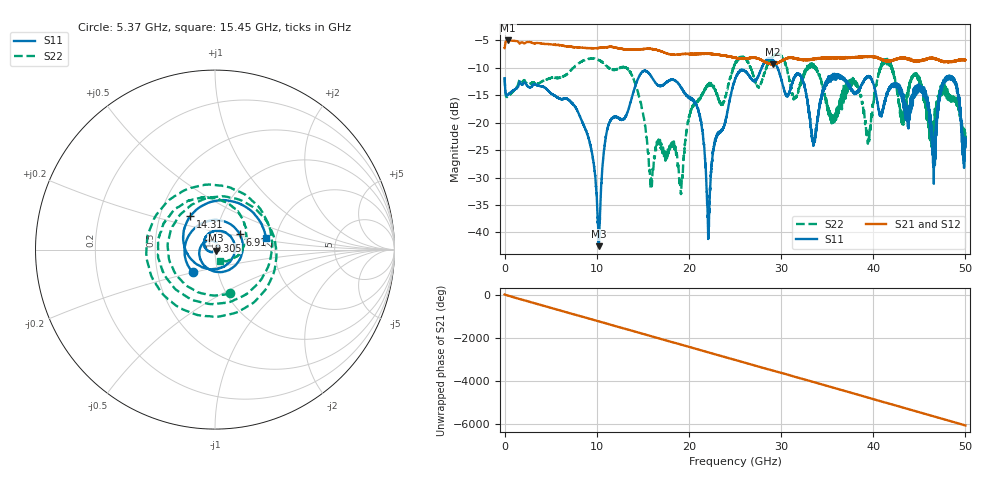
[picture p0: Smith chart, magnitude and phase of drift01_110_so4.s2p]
!Created with skrf (http://scikit-rf.org).
# Hz S RI R 50.0
!freq ReS11 ImS11 ReS21 ImS21 ReS12 ImS12 ReS22 ImS22
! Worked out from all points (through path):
!   10001 points, 300 kHz to 50 GHz, reference 50 ohm
!   highest |S21| = -5.06 dB at 395.3 MHz (marker M1); lowest = -9.4 dB at 29.12 GHz (marker M2)
!   group delay of S21, straight-line fit = 336 ps
!   lowest |S11| = -42.5 dB at 10.22 GHz (marker M3), VSWR 1.02, Z = 50.5 - j0.568 ohm
!   |S11| at or under -10 dB: start of sweep to 27.9 GHz; 29.6 GHz to end of sweep
!   |S22| runs from -33.0 to -7.5 dB; largest |S21 - S12| = 0.015
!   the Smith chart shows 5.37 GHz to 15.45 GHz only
!   S11 on the Smith chart (normalised r, x): 5.37 GHz: 0.76, -0.20; 6.91 GHz: 1.30, +0.22; 9.305 GHz: 0.93, +0.09; 14.31 GHz: 0.71, +0.28; 15.45 GHz: 1.78, +0.24
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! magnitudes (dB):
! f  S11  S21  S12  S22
! 300 kHz  -11.9  -6.5  -6.6  -11.8
! 395.3 MHz  -14.9  -5.1  -5.1  -15.2
! 5.37 GHz  -15.0  -5.9  -5.9  -11.8
! 6.91 GHz  -15.8  -6.1  -6.1  -11.0
! 8.335 GHz  -19.5  -6.4  -6.4  -8.9
! 9.305 GHz  -24.1  -6.5  -6.4  -8.4
! 10.22 GHz  -42.5  -6.4  -6.4  -8.6
! 11.23 GHz  -20.7  -6.3  -6.3  -9.9
! 14.31 GHz  -12.7  -6.7  -6.7  -13.6
! 15.45 GHz  -10.7  -6.6  -6.6  -23.0
! 16.67 GHz  -13.2  -6.9  -6.8  -23.4
! 19.14 GHz  -13.6  -7.5  -7.6  -33.0
! 20.86 GHz  -17.0  -7.5  -7.5  -16.2
! 22.12 GHz  -40.7  -7.5  -7.5  -13.3
! 25 GHz  -12.1  -8.2  -8.2  -9.5
! 29.12 GHz  -8.6  -9.4  -9.4  -7.9
! 33.34 GHz  -22.5  -8.5  -8.4  -9.6
! 39.47 GHz  -11.6  -8.0  -8.0  -22.2
! 41.67 GHz  -14.0  -8.7  -8.7  -8.8
! 46.55 GHz  -25.4  -8.3  -8.2  -20.3
! 48.56 GHz  -11.9  -8.9  -8.9  -15.7
! 50 GHz  -23.5  -8.6  -8.6  -22.9
